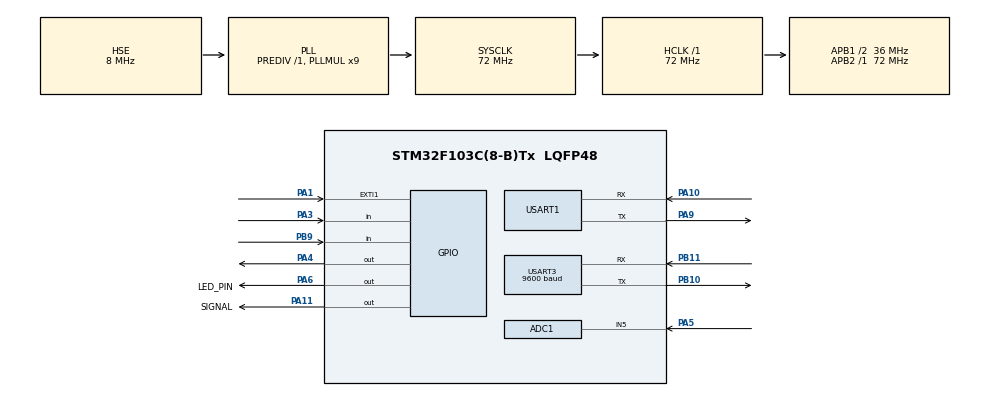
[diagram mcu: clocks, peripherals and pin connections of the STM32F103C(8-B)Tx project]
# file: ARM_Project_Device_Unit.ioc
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ADC1.Channel-0\#ChannelRegularConversion=ADC_CHANNEL_5
ADC1.NbrOfConversionFlag=1
ADC1.Rank-0\#ChannelRegularConversion=1
ADC1.SamplingTime-0\#ChannelRegularConversion=ADC_SAMPLETIME_1CYCLE_5
ADC1.master=1
Dma.Request0=USART1_RX
Dma.Request1=USART1_TX
Dma.USART1_RX.0.Direction=DMA_PERIPH_TO_MEMORY
Dma.USART1_RX.0.Instance=DMA1_Channel5
Dma.USART1_RX.0.MemDataAlignment=DMA_MDATAALIGN_BYTE
Dma.USART1_RX.0.MemInc=DMA_MINC_ENABLE
Dma.USART1_RX.0.Mode=DMA_NORMAL
Dma.USART1_RX.0.PeriphDataAlignment=DMA_PDATAALIGN_BYTE
Dma.USART1_RX.0.PeriphInc=DMA_PINC_DISABLE
Dma.USART1_RX.0.Priority=DMA_PRIORITY_LOW
Dma.USART1_TX.1.Direction=DMA_MEMORY_TO_PERIPH
Dma.USART1_TX.1.Instance=DMA1_Channel4
Dma.USART1_TX.1.MemDataAlignment=DMA_MDATAALIGN_BYTE
Dma.USART1_TX.1.MemInc=DMA_MINC_ENABLE
Dma.USART1_TX.1.Mode=DMA_NORMAL
Dma.USART1_TX.1.PeriphDataAlignment=DMA_PDATAALIGN_BYTE
Dma.USART1_TX.1.PeriphInc=DMA_PINC_DISABLE
Dma.USART1_TX.1.Priority=DMA_PRIORITY_LOW
FREERTOS.INCLUDE_vTaskDelayUntil=1
FREERTOS.Mutexes01=myMutex01,Dynamic,NULL
FREERTOS.Tasks01=defaultTask,1,128,StartDefaultTask,Default,NULL,Dynamic,NULL,NULL;myTask02,0,128,StartTask02,Default,NULL,Dynamic,NULL,NULL;myTask03,-3,128,StartTask03,Default,NULL,Dynamic,NULL,NULL
Mcu.Family=STM32F1
Mcu.Name=STM32F103C(8-B)Tx
Mcu.Package=LQFP48
NVIC.ADC1_2_IRQn=true\:5\:0\:false\:false\:true\:true\:true
NVIC.DMA1_Channel4_IRQn=true\:5\:0\:false\:false\:true\:true\:false
NVIC.DMA1_Channel5_IRQn=true\:5\:0\:false\:false\:true\:true\:false
NVIC.EXTI1_IRQn=true\:5\:0\:false\:false\:true\:true\:true
NVIC.PriorityGroup=NVIC_PRIORITYGROUP_4
NVIC.USART1_IRQn=true\:5\:0\:false\:false\:true\:true\:true
NVIC.USART3_IRQn=true\:5\:0\:false\:false\:true\:true\:true
PA0-WKUP.Mode=SYS_WakeUp0
PA0-WKUP.Signal=SYS_WKUP
PA1.Signal=GPXTI1
PA10.Mode=Asynchronous
PA10.Signal=USART1_RX
PA11.GPIO_Label=SIGNAL
PA11.Signal=GPIO_Output
PA13.Mode=Serial_Wire
PA13.Signal=SYS_JTMS-SWDIO
PA14.Mode=Serial_Wire
PA14.Signal=SYS_JTCK-SWCLK
PA3.Signal=GPIO_Input
PA4.Signal=GPIO_Output
PA5.Signal=ADCx_IN5
PA6.GPIO_Label=LED_PIN
PA6.Signal=GPIO_Output
PA9.Mode=Asynchronous
PA9.Signal=USART1_TX
PB10.Mode=Asynchronous
PB10.Signal=USART3_TX
PB11.Mode=Asynchronous
PB11.Signal=USART3_RX
PB9.Signal=GPIO_Input
PD0-OSC_IN.Mode=HSE-External-Oscillator
PD0-OSC_IN.Signal=RCC_OSC_IN
PD1-OSC_OUT.Mode=HSE-External-Oscillator
PD1-OSC_OUT.Signal=RCC_OSC_OUT
ProjectManager.HeapSize=0x200
ProjectManager.StackSize=0x400
ProjectManager.TargetToolchain=MDK-ARM V5
RCC.ADCPresc=RCC_ADCPCLK2_DIV6
RCC.AHBFreq_Value=72000000
RCC.APB1CLKDivider=RCC_HCLK_DIV2
RCC.APB1Freq_Value=36000000
RCC.APB1TimFreq_Value=72000000
RCC.APB2Freq_Value=72000000
RCC.APB2TimFreq_Value=72000000
RCC.HCLKFreq_Value=72000000
RCC.PLLMUL=RCC_PLL_MUL9
RCC.PLLSourceVirtual=RCC_PLLSOURCE_HSE
RCC.SYSCLKFreq_VALUE=72000000
RCC.SYSCLKSource=RCC_SYSCLKSOURCE_PLLCLK
RCC.USBFreq_Value=72000000
SH.ADCx_IN5.0=ADC1_IN5,IN5
USART1.VirtualMode=VM_ASYNC
USART3.BaudRate=9600
USART3.VirtualMode=VM_ASYNC
VP_FREERTOS_VS_ENABLE.Mode=Enabled
board=custom

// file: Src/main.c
/* USER CODE BEGIN Header */
/**
  ******************************************************************************
  * @file           : main.c
  * @brief          : Main program body
  ******************************************************************************
  ** This notice applies to any and all portions of this file
  * that are not between comment pairs USER CODE BEGIN and
  * USER CODE END. Other portions of this file, whether
  * inserted by the user or by software development tools
  * are owned by their respective copyright owners.
  *
  * COPYRIGHT(c) 2019 STMicroelectronics
  *
  * Redistribution and use in source and binary forms, with or without modification,
  * are permitted provided that the following conditions are met:
  *   1. Redistributions of source code must retain the above copyright notice,
  *      this list of conditions and the following disclaimer.
  *   2. Redistributions in binary form must reproduce the above copyright notice,
  *      this list of conditions and the following disclaimer in the documentation
  *      and/or other materials provided with the distribution.
  *   3. Neither the name of STMicroelectronics nor the names of its contributors
  *      may be used to endorse or promote products derived from this software
  *      without specific prior written permission.
  *
  * THIS SOFTWARE IS PROVIDED BY THE COPYRIGHT HOLDERS AND CONTRIBUTORS "AS IS"
  * AND ANY EXPRESS OR IMPLIED WARRANTIES, INCLUDING, BUT NOT LIMITED TO, THE
  * IMPLIED WARRANTIES OF MERCHANTABILITY AND FITNESS FOR A PARTICULAR PURPOSE ARE
  * DISCLAIMED. IN NO EVENT SHALL THE COPYRIGHT HOLDER OR CONTRIBUTORS BE LIABLE
  * FOR ANY DIRECT, INDIRECT, INCIDENTAL, SPECIAL, EXEMPLARY, OR CONSEQUENTIAL
  * DAMAGES (INCLUDING, BUT NOT LIMITED TO, PROCUREMENT OF SUBSTITUTE GOODS OR
  * SERVICES; LOSS OF USE, DATA, OR PROFITS; OR BUSINESS INTERRUPTION) HOWEVER
  * CAUSED AND ON ANY THEORY OF LIABILITY, WHETHER IN CONTRACT, STRICT LIABILITY,
  * OR TORT (INCLUDING NEGLIGENCE OR OTHERWISE) ARISING IN ANY WAY OUT OF THE USE
  * OF THIS SOFTWARE, EVEN IF ADVISED OF THE POSSIBILITY OF SUCH DAMAGE.
  *
  ******************************************************************************
  */
/* USER CODE END Header */

#include "main.h"
#include "cmsis_os.h"

/* USER CODE BEGIN Includes */
#include <stdio.h>
#include <stdlib.h>
#include <string.h>

#include "dwt_stm32_delay.h"
/* USER CODE END Includes */

ADC_HandleTypeDef hadc1;

UART_HandleTypeDef huart1;
UART_HandleTypeDef huart3;
DMA_HandleTypeDef hdma_usart1_rx;
DMA_HandleTypeDef hdma_usart1_tx;

osThreadId defaultTaskHandle;
osThreadId myTask02Handle;
osThreadId myTask03Handle;
osMutexId myMutex01Handle;
/* USER CODE BEGIN PV */
uint8_t Buffer[BUFSIZ];
uint8_t Buffer2[BUFSIZ];
uint8_t Command[BUFSIZ];
/* USER CODE END PV */

void SystemClock_Config(void);
static void MX_GPIO_Init(void);
static void MX_DMA_Init(void);
static void MX_USART1_UART_Init(void);
static void MX_USART3_UART_Init(void);
static void MX_ADC1_Init(void);
void StartDefaultTask(void const * argument);
void StartTask02(void const * argument);
void StartTask03(void const * argument);

/* USER CODE BEGIN 0 */
uint16_t year;
uint8_t month;
uint8_t date;
uint8_t hour;
uint8_t min;
uint8_t sec;

uint8_t hour_a = 0;
uint8_t min_a = 0;

#define TIMINGS_COUNT	85

uint8_t HUMI[2] = { 0 };
uint8_t TEMP[2] = { 0 };
float dust_density = 0.f;

typedef enum
{
	OUTPUT = GPIO_MODE_OUTPUT_PP,
	INPUT = GPIO_MODE_INPUT
} Pinmode;

int dht11_data[5] = { 0, 0, 0, 0, 0 };			// dht11 data array [0, 1] => Humidity, [2, 3] => Temperature, [5] => Checksum

void Gpio_Pinmode(GPIO_TypeDef * port, uint32_t pin, uint32_t mode){
	GPIO_InitTypeDef GPIO_InitStruct;

	if(mode == OUTPUT){
		GPIO_InitStruct.Pin = pin;
		GPIO_InitStruct.Mode = mode;
		GPIO_InitStruct.Speed = GPIO_SPEED_FREQ_HIGH;
	}

	else {
		GPIO_InitStruct.Pin = pin;
		GPIO_InitStruct.Mode = mode;
		GPIO_InitStruct.Pull = GPIO_NOPULL;
	}

	HAL_GPIO_Init(port, &GPIO_InitStruct);
}

void Read_Dht11_Data()
{
	uint8_t state = 1;							// Pulse state, def. : HIGH
	uint8_t counter = 0;						// Data length counter

	for(uint8_t i = 0; i < 5; i++){				// Data reset
		dht11_data[i] = 0;
	}

	Gpio_Pinmode(GPIOA, GPIO_PIN_2, OUTPUT);	// Command write mode
	HAL_GPIO_WritePin (GPIOA, GPIO_PIN_2, 0);	// Start signal
	DWT_Delay_us (18000);						// Delay atleast 18ms
	HAL_GPIO_WritePin (GPIOA, GPIO_PIN_2, 1);	// Wait for response
	DWT_Delay_us(30);							// Delay 20 ~ 40us
	Gpio_Pinmode(GPIOA, GPIO_PIN_2, INPUT);		// Data read mode

	// 1 Data => 8 Bit
	// 8 Bit == 8 Pulse
	// 1 Pulse => 2 State Change
	// 5 Data == 40 Pulse
	// 40 Pulse == 80 Pulse
	// 80 Pulse + extra Bit == 85
	for (uint8_t  i = 0, j = 0; i < TIMINGS_COUNT; i++ )
	{
		counter = 0;
		while ( HAL_GPIO_ReadPin(GPIOA, GPIO_PIN_2) == state )
		{
			counter++;
			DWT_Delay_us(1);					// Delay 1ms
			if (counter == 255)					// No Signal
			{
				break;
			}
		}
		state = HAL_GPIO_ReadPin(GPIOA, GPIO_PIN_2);	// Read State

		if (counter == 255) 			// No Signal
			break;

		if ((i >= 4) && (i % 2 == 0)) 	// Skip First 3 state change
		{
			dht11_data[j / 8] <<= 1;		// Shift 1 bit
			if ( counter > 28 )			// If high-voltage length is bigger than 28
				dht11_data[j / 8] |= 1;	// Data "1" bit
			j++;						// Data count
		}
	}

	if (dht11_data[4] == ((dht11_data[0] + dht11_data[1] + dht11_data[2] + dht11_data[3]) & 0xFF))	// Compare checksum
	{
		HUMI[0] = dht11_data[0];
		HUMI[1] = dht11_data[1];

		TEMP[0] = dht11_data[2];
		TEMP[1] = dht11_data[3];

//		printf( "Humidity = %d.%d %% Temperature = %d.%d C\r\n", dht11_data[0], dht11_data[1], dht11_data[2], dht11_data[3]);
	}else  {
		printf("ERR");
	}
}

void Read_Dust_Data(){
	int sampling_time = 280;
	int delta_time = 40;
	int sleep_time = 9680;

	uint32_t vo_measured = 0;
	float calc_voltage = 0;

	HAL_GPIO_WritePin(LED_PIN_GPIO_Port, LED_PIN_Pin, 0);
	DWT_Delay_us(sampling_time);

	vo_measured = HAL_ADC_GetValue(&hadc1);

	DWT_Delay_us(delta_time);
	HAL_GPIO_WritePin(LED_PIN_GPIO_Port, LED_PIN_Pin, 1);
	DWT_Delay_us(sleep_time);

	calc_voltage = vo_measured * (5.f / 4096.f);

	dust_density = 0.17f * calc_voltage - 0.1f;
	dust_density *= 1000;
}

int fputc(int ch, FILE *f){
  uint8_t temp[1] = {ch};
  HAL_UART_Transmit(&huart1, temp, 1, 2);
  return ch;
}
/* USER CODE END 0 */

int main(void)
{

  /* MCU Configuration--------------------------------------------------------*/

  /* Reset of all peripherals, Initializes the Flash interface and the Systick. */
  HAL_Init();

  /* Configure the system clock */
  SystemClock_Config();

  /* Initialize all configured peripherals */
  MX_GPIO_Init();
  MX_DMA_Init();
  MX_USART1_UART_Init();
  MX_USART3_UART_Init();
  MX_ADC1_Init();
  /* USER CODE BEGIN 2 */
	DWT_Delay_Init ();

//	printf("START\r\n");

	HAL_UART_Receive_IT(&huart1, Command, 4);
//	HAL_UART_Receive_DMA(&huart1, Command, BUFSIZ);
//	HAL_UART_Receive_DMA(&huart1, Command, BUFSIZ);
  /* USER CODE END 2 */

  /* Create the mutex(es) */
  /* definition and creation of myMutex01 */
  osMutexDef(myMutex01);
  myMutex01Handle = osMutexCreate(osMutex(myMutex01));

  /* Create the thread(s) */
  /* definition and creation of defaultTask */
  osThreadDef(defaultTask, StartDefaultTask, osPriorityAboveNormal, 0, 128);
  defaultTaskHandle = osThreadCreate(osThread(defaultTask), NULL);

  /* definition and creation of myTask02 */
  osThreadDef(myTask02, StartTask02, osPriorityNormal, 0, 128);
  myTask02Handle = osThreadCreate(osThread(myTask02), NULL);

  /* definition and creation of myTask03 */
  osThreadDef(myTask03, StartTask03, osPriorityIdle, 0, 128);
  myTask03Handle = osThreadCreate(osThread(myTask03), NULL);

  /* Start scheduler */
  osKernelStart();

  /* We should never get here as control is now taken by the scheduler */

  /* Infinite loop */
  /* USER CODE BEGIN WHILE */
  while (1)
  {
//		HAL_UART_Receive_IT(&huart1, Command, 4);
//		Read_Dht11_Data();
//		HAL_Delay(2000);
//		printf("HUMI : %s\r\n", HUMI);
//		printf("TEMP : %s\r\n", TEMP);

    /* USER CODE END WHILE */

  }
}

void SystemClock_Config(void)
{
  RCC_OscInitTypeDef RCC_OscInitStruct = {0};
  RCC_ClkInitTypeDef RCC_ClkInitStruct = {0};
  RCC_PeriphCLKInitTypeDef PeriphClkInit = {0};

  /**Initializes the CPU, AHB and APB busses clocks
  */
  RCC_OscInitStruct.OscillatorType = RCC_OSCILLATORTYPE_HSE;
  RCC_OscInitStruct.HSEState = RCC_HSE_ON;
  RCC_OscInitStruct.HSEPredivValue = RCC_HSE_PREDIV_DIV1;
  RCC_OscInitStruct.HSIState = RCC_HSI_ON;
  RCC_OscInitStruct.PLL.PLLState = RCC_PLL_ON;
  RCC_OscInitStruct.PLL.PLLSource = RCC_PLLSOURCE_HSE;
  RCC_OscInitStruct.PLL.PLLMUL = RCC_PLL_MUL9;
  if (HAL_RCC_OscConfig(&RCC_OscInitStruct) != HAL_OK)
  {
    Error_Handler();
  }
  /**Initializes the CPU, AHB and APB busses clocks
  */
  RCC_ClkInitStruct.ClockType = RCC_CLOCKTYPE_HCLK|RCC_CLOCKTYPE_SYSCLK
                              |RCC_CLOCKTYPE_PCLK1|RCC_CLOCKTYPE_PCLK2;
  RCC_ClkInitStruct.SYSCLKSource = RCC_SYSCLKSOURCE_PLLCLK;
  RCC_ClkInitStruct.AHBCLKDivider = RCC_SYSCLK_DIV1;
  RCC_ClkInitStruct.APB1CLKDivider = RCC_HCLK_DIV2;
  RCC_ClkInitStruct.APB2CLKDivider = RCC_HCLK_DIV1;

  if (HAL_RCC_ClockConfig(&RCC_ClkInitStruct, FLASH_LATENCY_2) != HAL_OK)
  {
    Error_Handler();
  }
  PeriphClkInit.PeriphClockSelection = RCC_PERIPHCLK_ADC;
  PeriphClkInit.AdcClockSelection = RCC_ADCPCLK2_DIV6;
  if (HAL_RCCEx_PeriphCLKConfig(&PeriphClkInit) != HAL_OK)
  {
    Error_Handler();
  }
}

static void MX_ADC1_Init(void)
{

  ADC_ChannelConfTypeDef sConfig = {0};

  /**Common config
  */
  hadc1.Instance = ADC1;
  hadc1.Init.ScanConvMode = ADC_SCAN_DISABLE;
  hadc1.Init.ContinuousConvMode = DISABLE;
  hadc1.Init.DiscontinuousConvMode = DISABLE;
  hadc1.Init.ExternalTrigConv = ADC_SOFTWARE_START;
  hadc1.Init.DataAlign = ADC_DATAALIGN_RIGHT;
  hadc1.Init.NbrOfConversion = 1;
  if (HAL_ADC_Init(&hadc1) != HAL_OK)
  {
    Error_Handler();
  }
  /**Configure Regular Channel
  */
  sConfig.Channel = ADC_CHANNEL_5;
  sConfig.Rank = ADC_REGULAR_RANK_1;
  sConfig.SamplingTime = ADC_SAMPLETIME_1CYCLE_5;
  if (HAL_ADC_ConfigChannel(&hadc1, &sConfig) != HAL_OK)
  {
    Error_Handler();
  }

}

static void MX_USART1_UART_Init(void)
{

  huart1.Instance = USART1;
  huart1.Init.BaudRate = 115200;
  huart1.Init.WordLength = UART_WORDLENGTH_8B;
  huart1.Init.StopBits = UART_STOPBITS_1;
  huart1.Init.Parity = UART_PARITY_NONE;
  huart1.Init.Mode = UART_MODE_TX_RX;
  huart1.Init.HwFlowCtl = UART_HWCONTROL_NONE;
  huart1.Init.OverSampling = UART_OVERSAMPLING_16;
  if (HAL_UART_Init(&huart1) != HAL_OK)
  {
    Error_Handler();
  }

}

static void MX_USART3_UART_Init(void)
{

  huart3.Instance = USART3;
  huart3.Init.BaudRate = 9600;
  huart3.Init.WordLength = UART_WORDLENGTH_8B;
  huart3.Init.StopBits = UART_STOPBITS_1;
  huart3.Init.Parity = UART_PARITY_NONE;
  huart3.Init.Mode = UART_MODE_TX_RX;
  huart3.Init.HwFlowCtl = UART_HWCONTROL_NONE;
  huart3.Init.OverSampling = UART_OVERSAMPLING_16;
  if (HAL_UART_Init(&huart3) != HAL_OK)
  {
    Error_Handler();
  }

}

static void MX_DMA_Init(void)
{
  /* DMA controller clock enable */
  __HAL_RCC_DMA1_CLK_ENABLE();

  /* DMA interrupt init */
  /* DMA1_Channel4_IRQn interrupt configuration */
  HAL_NVIC_SetPriority(DMA1_Channel4_IRQn, 5, 0);
  HAL_NVIC_EnableIRQ(DMA1_Channel4_IRQn);
  /* DMA1_Channel5_IRQn interrupt configuration */
  HAL_NVIC_SetPriority(DMA1_Channel5_IRQn, 5, 0);
  HAL_NVIC_EnableIRQ(DMA1_Channel5_IRQn);

}

static void MX_GPIO_Init(void)
{
  GPIO_InitTypeDef GPIO_InitStruct = {0};

  /* GPIO Ports Clock Enable */
  __HAL_RCC_GPIOD_CLK_ENABLE();
  __HAL_RCC_GPIOA_CLK_ENABLE();
  __HAL_RCC_GPIOB_CLK_ENABLE();

  /*Configure GPIO pin Output Level */
  HAL_GPIO_WritePin(GPIOA, GPIO_PIN_4|LED_PIN_Pin|SIGNAL_Pin, GPIO_PIN_RESET);

  /*Configure GPIO pin : PA1 */
  GPIO_InitStruct.Pin = GPIO_PIN_1;
  GPIO_InitStruct.Mode = GPIO_MODE_IT_RISING;
  GPIO_InitStruct.Pull = GPIO_NOPULL;
  HAL_GPIO_Init(GPIOA, &GPIO_InitStruct);

  /*Configure GPIO pin : PA3 */
  GPIO_InitStruct.Pin = GPIO_PIN_3;
  GPIO_InitStruct.Mode = GPIO_MODE_INPUT;
  GPIO_InitStruct.Pull = GPIO_NOPULL;
  HAL_GPIO_Init(GPIOA, &GPIO_InitStruct);

  /*Configure GPIO pins : PA4 LED_PIN_Pin SIGNAL_Pin */
  GPIO_InitStruct.Pin = GPIO_PIN_4|LED_PIN_Pin|SIGNAL_Pin;
  GPIO_InitStruct.Mode = GPIO_MODE_OUTPUT_PP;
  GPIO_InitStruct.Pull = GPIO_NOPULL;
  GPIO_InitStruct.Speed = GPIO_SPEED_FREQ_LOW;
  HAL_GPIO_Init(GPIOA, &GPIO_InitStruct);

  /*Configure GPIO pin : PB9 */
  GPIO_InitStruct.Pin = GPIO_PIN_9;
  GPIO_InitStruct.Mode = GPIO_MODE_INPUT;
  GPIO_InitStruct.Pull = GPIO_NOPULL;
  HAL_GPIO_Init(GPIOB, &GPIO_InitStruct);

  /* EXTI interrupt init*/
  HAL_NVIC_SetPriority(EXTI1_IRQn, 5, 0);
  HAL_NVIC_EnableIRQ(EXTI1_IRQn);

}

/* USER CODE BEGIN 4 */

void HAL_UART_RxCpltCallback(UART_HandleTypeDef *huart){

}

/* USER CODE END 4 */

void StartDefaultTask(void const * argument)
{

  /* USER CODE BEGIN 5 */
	TickType_t xLastWakeTime;
  const TickType_t xDHT_Delay = 2000;
	/* Infinite loop */
  for(;;)
  {
//		HAL_GPIO_WritePin(SIGNAL_GPIO_Port, SIGNAL_Pin, 0);
		xLastWakeTime = xTaskGetTickCount();
		Read_Dht11_Data();
		Read_Dust_Data();

		vTaskDelay(2000);
//    vTaskDelayUntil(&xLastWakeTime, xDHT_Delay);

  }
  /* USER CODE END 5 */
}

void StartTask02(void const * argument)
{
  /* USER CODE BEGIN StartTask02 */
	uint8_t split_count = 0;
  /* Infinite loop */
  for(;;)
  {
//		HAL_GPIO_WritePin(SIGNAL_GPIO_Port, SIGNAL_Pin, 0);
		HAL_UART_Receive(&huart3, Buffer, BUFSIZ, 0XFF);
		if(strlen(Buffer) > 0){
			if(strlen(Buffer) < 6){
				hour_a = 0;
				min_a = 0;
				printf("%c", 'A');
				if(strlen(Buffer) < 5){
					hour_a = (Buffer[0] - 0x30);
					min_a = (Buffer[2] - 0x30) * 10 + (Buffer[3] - 0x30);
				}
				else {
					hour_a = (Buffer[0] - 0x30) * 10 + (Buffer[1] - 0x30);
					min_a = (Buffer[3] - 0x30) * 10 + (Buffer[4] - 0x30);
				}
				printf("%c%c%c%c", hour_a / 10, hour_a % 10, min_a / 10, min_a % 10);
//				printf("%c%c", hour, min);
			}
			else {
				split_count = 0;
//				printf("Buffer : [%s]\r\n", Buffer);
				if(strlen(Buffer) == 19){
					for(int i = 0; i < strlen(Buffer); i++){
						if(Buffer[i] == '/' || Buffer[i] == ':')
							split_count++;
					}
					if(split_count == 5){
						year = (Buffer[6] - 0x30) * 1000 + (Buffer[7] - 0x30) * 100 + (Buffer[8] - 0x30) * 10 + (Buffer[9] - 0x30);
						month = (Buffer[0] - 0x30) * 10 + (Buffer[1] - 0x30);
						date = (Buffer[3] - 0x30) * 10 + (Buffer[4] - 0x30);
						hour = (Buffer[11] - 0x30) * 10 + (Buffer[12] - 0x30);
						min = (Buffer[14] - 0x30) * 10 + (Buffer[15] - 0x30);
						sec = (Buffer[17] - 0x30) * 10 + (Buffer[18] - 0x30);

						if(year > 2000 && month < 13 && month > 0 && date < 32 && date > 0 && hour < 24 && min < 60 && sec < 60){
//							printf("%c%c%c%c%c%c%c", 'S', month, date, year % 100, hour, min, sec);
							printf("%c%c%c%c%c%c%c%c%c%c%c%c%c%c%c", 'S', Buffer[0] - 0x30, Buffer[1] - 0x30, Buffer[3] - 0x30, Buffer[4] - 0x30, Buffer[6] - 0x30, Buffer[7] - 0x30, Buffer[8] - 0x30, Buffer[9] - 0x30, Buffer[11] - 0x30, Buffer[12] - 0x30, Buffer[14] - 0x30, Buffer[15] - 0x30, Buffer[17] - 0x30, Buffer[18] - 0x30);
						//				 S M M d d y y y y H H m m s s				M									M									d									d									y									y									y									y									H										H									m										m									s										s
						}
					}

				}
			}
//			printf("Buffer : [%s]\r\n", Buffer);
			memset((uint8_t *)Buffer, 0, BUFSIZ);
//			sprintf(Buffer, "");
		}
		if(strcmp(Command, "TEMP") == 0){
			printf("%c%c%c%c%c%c", 0x48, dht11_data[0], dht11_data[1], 0x54, dht11_data[2], dht11_data[3]);
			memset((uint8_t *)Command, 0, BUFSIZ);
			HAL_UART_Receive_IT(&huart1, Command, 4);
		}
		if(strcmp(Command, "DUST") == 0){
			uint8_t dust_100 = ((uint16_t)dust_density / 100);
			uint8_t dust_10 = (((uint16_t)dust_density % 100) / 10);
			uint8_t dust_1 = ((uint16_t)dust_density % 10);
			uint8_t dust_u1 = ((uint32_t)(dust_density * 10.f)) % 10;
			uint8_t dust_u10 = ((uint32_t)(dust_density * 100.f)) % 10;

			printf("%c%c%c%c%c%c", 'D', dust_100, dust_10, dust_1, dust_u1, dust_u10);
			memset((uint8_t *)Command, 0, BUFSIZ);
			HAL_UART_Receive_IT(&huart1, Command, 4);
		}
		if(strcmp(Command, "SETA") == 0){
			printf("%c%c%c", 'A', hour, min);
			memset((uint8_t *)Command, 0, BUFSIZ);
			HAL_UART_Receive_IT(&huart1, Command, 4);
		}
		if(strcmp(Command, "SETT") == 0){
			printf("%c%c%c%c%c%c%c", 'S', month, date, year % 100, hour, min, sec);
			memset((uint8_t *)Command, 0, BUFSIZ);
			HAL_UART_Receive_IT(&huart1, Command, 4);
		}
		vTaskDelay(10);
  }
  /* USER CODE END StartTask02 */
}

void StartTask03(void const * argument)
{
  for(;;)
  {
  }
}

void Error_Handler(void)
{
}

/************************ (C) COPYRIGHT STMicroelectronics *****END OF FILE****/
